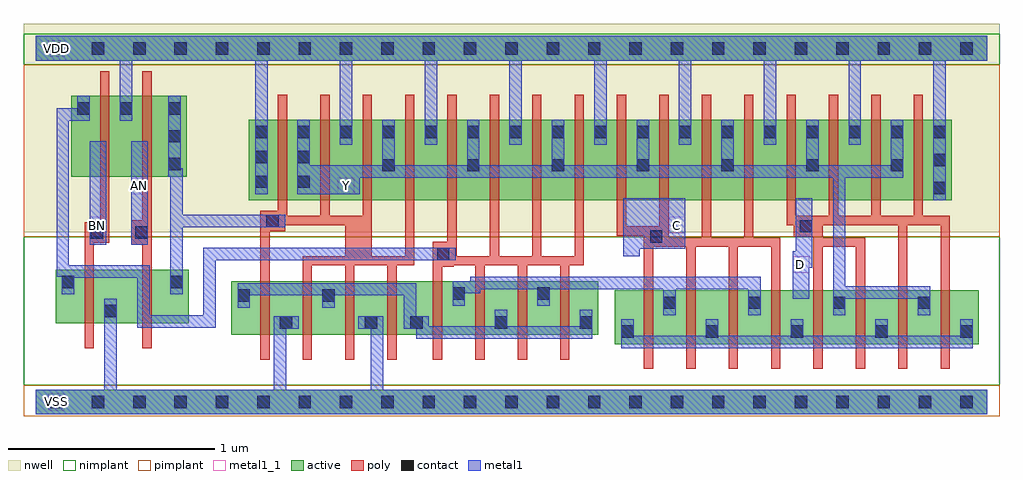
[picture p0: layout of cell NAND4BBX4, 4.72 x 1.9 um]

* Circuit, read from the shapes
.subckt NAND4BBX4 AN BN C D VDD VSS Y
M1 VSS BN n1 VSS nfet w=0.26u l=0.045u
M2 n2 AN VSS VSS nfet w=0.26u l=0.045u
M3 VSS n2 n3 VSS nfet w=0.26u l=0.045u m=4
M4 n4 n1 n3 VSS nfet w=0.26u l=0.045u m=4
M5 n4 C n5 VSS nfet w=0.26u l=0.045u m=4
M6 Y D n5 VSS nfet w=0.26u l=0.045u m=4
M7 VDD BN n1 VDD pfet w=0.39u l=0.045u
M8 n2 AN VDD VDD pfet w=0.39u l=0.045u
M9 Y n2 VDD VDD pfet w=0.39u l=0.045u m=4
M10 Y n1 VDD VDD pfet w=0.39u l=0.045u m=4
M11 Y C VDD VDD pfet w=0.39u l=0.045u m=4
M12 Y D VDD VDD pfet w=0.39u l=0.045u m=4
.ends

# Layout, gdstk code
import gdstk
lib = gdstk.Library(unit=1e-6, precision=5e-10)
def R(c, l, rs):  # rectangles x0, y0, x1, y1
    for r in rs: c.add(gdstk.rectangle(r[:2], r[2:], *l))
def A(c, l, x, y, w, h, nx, ny, dx, dy):  # array of equal rectangles
    R(c, l, [(x+i*dx, y+j*dy, x+i*dx+w, y+j*dy+h) for i in range(nx) for j in range(ny)])
def P(c, l, *ps):  # polygons
    for p in ps: c.add(gdstk.Polygon(p, *l))
active = (1, 0)
nwell = (2, 0)
poly = (3, 0)
nimplant = (4, 0)
pimplant = (5, 0)
contact = (6, 0)
metal1 = (7, 0)
metal1_1 = (7, 1)

nand4bbx4 = lib.new_cell('NAND4BBX4')
R(nand4bbx4, active, [(0,-0.06,4.6,0.06), (2.8,0.28,4.56,0.54), (0.945,0.325,2.72,0.585), (0.095,0.38,0.74,0.64), (1.03,0.975,4.43,1.365), (0.17,1.09,0.73,1.48), (0,1.65,4.6,1.77)])
R(nand4bbx4, nwell, [(-0.06,0.82,4.66,1.83)])
P(nand4bbx4, poly, [(0.31,1.6),(0.355,1.6),(0.355,0.77),(0.28,0.77),(0.28,0.26),(0.235,0.26),(0.235,0.87),(0.31,0.87)],
  [(0.515,1.6),(0.56,1.6),(0.56,0.26),(0.515,0.26),(0.515,0.76),(0.46,0.76),(0.46,0.88),(0.515,0.88)],
  [(1.17,1.485),(1.215,1.485),(1.215,0.9),(1.375,0.9),(1.375,1.485),(1.42,1.485),(1.42,0.9),(1.58,0.9),(1.58,1.485),(1.625,1.485),(1.625,0.705),(1.785,0.705),(1.785,1.485),(1.83,1.485),(1.83,0.66),(1.745,0.66),(1.745,0.205),(1.7,0.205),(1.7,0.66),(1.54,0.66),(1.54,0.205),(1.495,0.205),(1.495,0.66),(1.335,0.66),(1.335,0.205),(1.29,0.205),(1.29,0.705),(1.495,0.705),(1.495,0.855),(1.205,0.855),(1.205,0.825),(1.13,0.825),(1.13,0.205),(1.085,0.205),(1.085,0.925),(1.17,0.925)],
  [(1.99,1.485),(2.035,1.485),(2.035,0.705),(2.195,0.705),(2.195,1.485),(2.24,1.485),(2.24,0.705),(2.4,0.705),(2.4,1.485),(2.445,1.485),(2.445,0.705),(2.605,0.705),(2.605,1.485),(2.65,1.485),(2.65,0.66),(2.58,0.66),(2.58,0.205),(2.535,0.205),(2.535,0.66),(2.375,0.66),(2.375,0.205),(2.33,0.205),(2.33,0.66),(2.17,0.66),(2.17,0.205),(2.125,0.205),(2.125,0.66),(2.02,0.66),(2.02,0.655),(1.965,0.655),(1.965,0.205),(1.92,0.205),(1.92,0.775),(1.99,0.775)],
  [(2.81,1.485),(2.855,1.485),(2.855,0.85),(3.015,0.85),(3.015,1.485),(3.06,1.485),(3.06,0.795),(3.22,0.795),(3.22,1.485),(3.265,1.485),(3.265,0.795),(3.425,0.795),(3.425,1.485),(3.47,1.485),(3.47,0.795),(3.6,0.795),(3.6,0.16),(3.555,0.16),(3.555,0.75),(3.395,0.75),(3.395,0.16),(3.35,0.16),(3.35,0.75),(3.19,0.75),(3.19,0.16),(3.145,0.16),(3.145,0.75),(2.985,0.75),(2.985,0.16),(2.94,0.16),(2.94,0.805),(2.81,0.805)],
  [(3.63,1.485),(3.675,1.485),(3.675,0.9),(3.835,0.9),(3.835,1.485),(3.88,1.485),(3.88,0.9),(4.04,0.9),(4.04,1.485),(4.085,1.485),(4.085,0.9),(4.245,0.9),(4.245,1.485),(4.29,1.485),(4.29,0.9),(4.42,0.9),(4.42,0.16),(4.375,0.16),(4.375,0.855),(4.215,0.855),(4.215,0.16),(4.17,0.16),(4.17,0.855),(3.805,0.855),(3.805,0.795),(4.01,0.795),(4.01,0.16),(3.965,0.16),(3.965,0.75),(3.805,0.75),(3.805,0.16),(3.76,0.16),(3.76,0.8),(3.665,0.8),(3.665,0.855),(3.63,0.855)])
R(nand4bbx4, nimplant, [(-0.06,0.08,4.66,0.8), (-0.06,1.63,4.66,1.78)])
R(nand4bbx4, pimplant, [(-0.06,-0.07,4.66,0.08), (-0.06,0.8,4.66,1.63)])
A(nand4bbx4, contact, 0.07, -0.03, 0.06, 0.06, 23, 2, 0.2, 1.71)
A(nand4bbx4, contact, 2.83, 0.31, 0.06, 0.06, 5, 1, 0.41, 0)
A(nand4bbx4, contact, 1.81, 0.355, 0.06, 0.06, 3, 1, 0.41, 0)
A(nand4bbx4, contact, 3.035, 0.45, 0.06, 0.06, 4, 1, 0.41, 0)
A(nand4bbx4, contact, 1.675, 1.115, 0.06, 0.06, 7, 1, 0.41, 0)
A(nand4bbx4, contact, 0.64, 1.12, 0.06, 0.06, 1, 3, 0, 0.135)
A(nand4bbx4, contact, 1.06, 1.275, 0.06, 0.06, 17, 1, 0.205, 0)
R(nand4bbx4, contact, [(1.18,0.355,1.24,0.415), (1.59,0.355,1.65,0.415), (0.33,0.41,0.39,0.47), (0.975,0.485,1.035,0.545), (1.385,0.485,1.445,0.545), (2.015,0.495,2.075,0.555), (2.425,0.495,2.485,0.555), (0.125,0.55,0.185,0.61), (0.65,0.55,0.71,0.61), (1.94,0.685,2,0.745), (2.97,0.77,3.03,0.83), (0.265,0.79,0.325,0.85), (0.48,0.79,0.54,0.85), (3.695,0.82,3.755,0.88), (1.115,0.845,1.175,0.905), (4.34,1.005,4.4,1.065), (1.06,1.035,1.12,1.095), (1.265,1.035,1.325,1.095), (4.34,1.14,4.4,1.2), (1.06,1.155,1.12,1.215), (1.265,1.155,1.325,1.215), (0.2,1.39,0.26,1.45), (0.405,1.39,0.465,1.45)])
R(nand4bbx4, metal1, [(0.26,0.76,0.34,1.26), (0.46,0.76,0.54,1.26)])
P(nand4bbx4, metal1, [(0,1.77),(4.6,1.77),(4.6,1.65),(4.4,1.65),(4.4,0.975),(4.34,0.975),(4.34,1.65),(3.99,1.65),(3.99,1.245),(3.93,1.245),(3.93,1.65),(3.58,1.65),(3.58,1.245),(3.52,1.245),(3.52,1.65),(3.17,1.65),(3.17,1.245),(3.11,1.245),(3.11,1.65),(2.76,1.65),(2.76,1.245),(2.7,1.245),(2.7,1.65),(2.35,1.65),(2.35,1.245),(2.29,1.245),(2.29,1.65),(1.94,1.65),(1.94,1.245),(1.88,1.245),(1.88,1.65),(1.53,1.65),(1.53,1.245),(1.47,1.245),(1.47,1.65),(1.12,1.65),(1.12,1.005),(1.06,1.005),(1.06,1.65),(0.465,1.65),(0.465,1.36),(0.405,1.36),(0.405,1.65),(0,1.65)],
  [(0.2,1.48),(0.26,1.48),(0.26,1.36),(0.16,1.36),(0.16,0.66),(0.55,0.66),(0.55,0.42),(0.81,0.42),(0.81,0.745),(2.03,0.745),(2.03,0.685),(0.87,0.685),(0.87,0.36),(0.49,0.36),(0.49,0.6),(0.185,0.6),(0.185,0.52),(0.125,0.52),(0.125,0.605),(0.1,0.605),(0.1,1.42),(0.2,1.42)],
  [(0.64,1.48),(0.7,1.48),(0.7,1.13),(0.71,1.13),(0.71,0.905),(1.205,0.905),(1.205,0.845),(0.71,0.845),(0.71,0.52),(0.65,0.52),(0.65,1.09),(0.64,1.09)],
  [(1.265,1.365),(1.325,1.365),(1.325,1.145),(1.675,1.145),(1.675,1.365),(1.735,1.365),(1.735,1.145),(2.085,1.145),(2.085,1.365),(2.145,1.365),(2.145,1.145),(2.495,1.145),(2.495,1.365),(2.555,1.365),(2.555,1.145),(2.905,1.145),(2.905,1.365),(2.965,1.365),(2.965,1.145),(3.315,1.145),(3.315,1.365),(3.375,1.365),(3.375,1.145),(3.725,1.145),(3.725,1.365),(3.785,1.365),(3.785,1.145),(4.135,1.145),(4.135,1.365),(4.195,1.365),(4.195,1.085),(3.915,1.085),(3.915,0.56),(4.325,0.56),(4.325,0.42),(4.265,0.42),(4.265,0.5),(3.915,0.5),(3.915,0.42),(3.855,0.42),(3.855,1.085),(1.565,1.085),(1.565,1.005),(1.265,1.005)],
  [(2.84,0.985),(3.14,0.985),(3.14,0.74),(2.92,0.74),(2.92,0.705),(2.84,0.705)],
  [(0.33,0.5),(0.39,0.5),(0.39,0.06),(1.15,0.06),(1.15,0.415),(1.27,0.415),(1.27,0.355),(1.21,0.355),(1.21,0.06),(1.62,0.06),(1.62,0.355),(1.56,0.355),(1.56,0.415),(1.68,0.415),(1.68,0.06),(4.6,0.06),(4.6,-0.06),(0,-0.06),(0,0.06),(0.33,0.06)],
  [(3.675,0.985),(3.755,0.985),(3.755,0.65),(3.74,0.65),(3.74,0.5),(3.66,0.5),(3.66,0.73),(3.675,0.73)],
  [(2.1,0.605),(3.505,0.605),(3.505,0.42),(3.445,0.42),(3.445,0.545),(3.095,0.545),(3.095,0.42),(3.035,0.42),(3.035,0.545),(2.485,0.545),(2.485,0.465),(2.425,0.465),(2.425,0.545),(2.15,0.545),(2.15,0.525),(2.075,0.525),(2.075,0.465),(2.015,0.465),(2.015,0.585),(2.1,0.585)],
  [(0.975,0.575),(1.84,0.575),(1.84,0.415),(1.9,0.415),(1.9,0.365),(2.22,0.365),(2.22,0.445),(2.28,0.445),(2.28,0.365),(2.63,0.365),(2.63,0.445),(2.69,0.445),(2.69,0.305),(1.84,0.305),(1.84,0.355),(1.78,0.355),(1.78,0.515),(1.445,0.515),(1.445,0.455),(1.385,0.455),(1.385,0.515),(1.035,0.515),(1.035,0.455),(0.975,0.455)],
  [(2.83,0.4),(2.89,0.4),(2.89,0.32),(3.24,0.32),(3.24,0.4),(3.3,0.4),(3.3,0.32),(3.65,0.32),(3.65,0.4),(3.71,0.4),(3.71,0.32),(4.06,0.32),(4.06,0.4),(4.12,0.4),(4.12,0.32),(4.47,0.32),(4.47,0.4),(4.53,0.4),(4.53,0.26),(2.83,0.26)])
R(nand4bbx4, metal1_1, [(0.06,-0.04,0.14,0.04), (3.66,0.625,3.74,0.705), (0.26,0.815,0.34,0.895), (3.06,0.815,3.14,0.895), (0.46,1.005,0.54,1.085), (1.46,1.005,1.54,1.085), (0.06,1.67,0.14,1.75)])
nand4bbx4.add(gdstk.Label('Y', (1.5,1.045), layer=7, texttype=1))
nand4bbx4.add(gdstk.Label('D', (3.7,0.665), layer=7, texttype=1))
nand4bbx4.add(gdstk.Label('C', (3.1,0.855), layer=7, texttype=1))
nand4bbx4.add(gdstk.Label('AN', (0.5,1.045), layer=7, texttype=1))
nand4bbx4.add(gdstk.Label('BN', (0.3,0.855), layer=7, texttype=1))
nand4bbx4.add(gdstk.Label('VDD', (0.1,1.71), layer=7, texttype=1))
nand4bbx4.add(gdstk.Label('VSS', (0.1,0), layer=7, texttype=1))
nand4bbx4.add(gdstk.Label('NAND4BBX4', (0,0), layer=63, texttype=0))

lib.write_gds('NAND4BBX4.gds')
